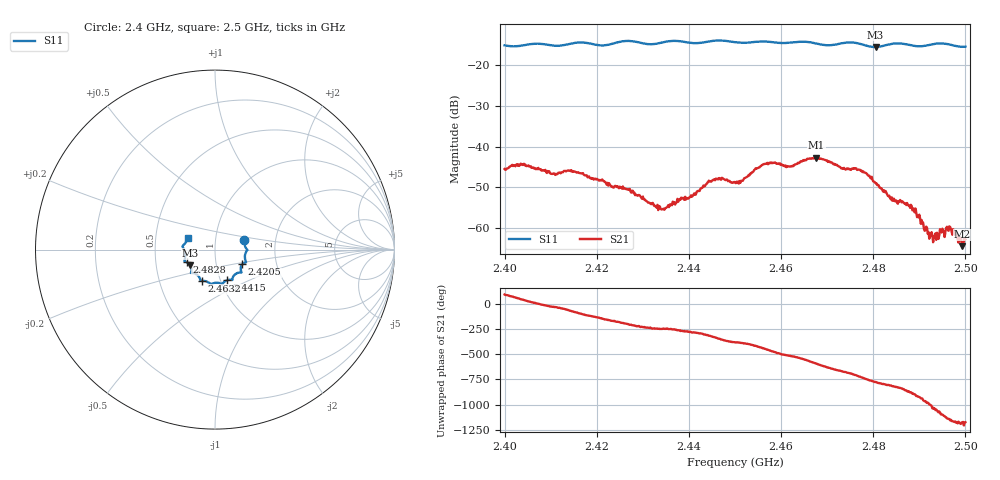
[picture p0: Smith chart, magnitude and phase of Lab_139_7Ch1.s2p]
# Hz S RI R 50
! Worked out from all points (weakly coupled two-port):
!   601 points, 2.4 GHz to 2.5 GHz, reference 50 ohm
!   highest |S21| = -42.71 dB at 2.4677 GHz (marker M1); lowest = -64.3 dB at 2.4993 GHz (marker M2)
!   lowest |S11| = -15.7 dB at 2.4805 GHz (marker M3), VSWR 1.39, Z = 37.3 - j6.69 ohm
!   |S11| at or under -10 dB: start of sweep to end of sweep
!   S12 and S22 are empty: the file has one direction only
!   S11 on the Smith chart (normalised r, x): 2.4 GHz: 1.38, +0.15; 2.4205 GHz: 1.34, -0.22; 2.4415 GHz: 1.07, -0.38; 2.4632 GHz: 0.82, -0.29; 2.4828 GHz: 0.72, -0.10; 2.5 GHz: 0.73, +0.10
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2.4e9  0.164 0.052  -0.000249 0.00531  0 0  0 0
2.404e9  0.1714 0.0101  0.00455 0.00396  0 0  0 0
2.4105e9  0.1697 -0.0206  0.00408 -0.00224  0 0  0 0
2.416667e9  0.1731 -0.0701  -0.000727 -0.00463  0 0  0 0
2.4205e9  0.1521 -0.0816  -0.00287 -0.00254  0 0  0 0
2.433333e9  0.1004 -0.1517  -0.000637 0.00155  0 0  0 0
2.4415e9  0.0656 -0.1708  0.000752 0.00248  0 0  0 0
2.445667e9  0.0419 -0.1918  0.00344 0.0018  0 0  0 0
2.45e9  0.0243 -0.1862  0.0034 -0.0013  0 0  0 0
2.4565e9  -0.0237 -0.1901  0.000285 -0.00611  0 0  0 0
2.463167e9  -0.0732 -0.1738  -0.0059 -0.00129  0 0  0 0
2.466667e9  -0.0822 -0.167  -0.00564 0.00442  0 0  0 0
2.467667e9  -0.0843 -0.16  -0.00427 0.00594  0 0  0 0
2.477333e9  -0.1314 -0.1203  0.00496 -0.000771  0 0  0 0
2.4805e9  -0.1389 -0.0873  0.00205 -0.00293  0 0  0 0
2.482833e9  -0.1586 -0.0699  0.00026 -0.00273  0 0  0 0
2.483333e9  -0.1624 -0.0679  0.000205 -0.00246  0 0  0 0
2.488667e9  -0.1657 -0.0394  -0.00173 -0.000283  0 0  0 0
2.492667e9  -0.1765 0.00729  0.000348 0.000831  0 0  0 0
2.496333e9  -0.1757 0.0256  0.000429 -0.00083  0 0  0 0
2.499333e9  -0.1556 0.0554  -8.89e-05 -0.0006  0 0  0 0
2.5e9  -0.1526 0.0646  -7.58e-05 -0.000732  0 0  0 0
